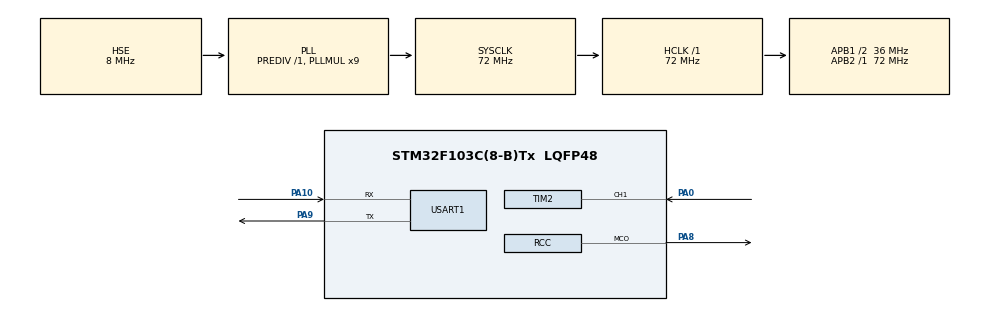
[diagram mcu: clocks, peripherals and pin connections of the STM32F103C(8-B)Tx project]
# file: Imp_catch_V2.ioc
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Mcu.Family=STM32F1
Mcu.Name=STM32F103C(8-B)Tx
Mcu.Package=LQFP48
NVIC.PriorityGroup=NVIC_PRIORITYGROUP_4
NVIC.TIM1_CC_IRQn=true\:0\:0\:false\:false\:true\:true\:true\:true
NVIC.TIM1_UP_IRQn=true\:0\:0\:false\:false\:true\:true\:true\:true
NVIC.TIM2_IRQn=true\:0\:0\:false\:false\:true\:true\:true\:true
PA0-WKUP.Signal=S_TIM2_CH1_ETR
PA10.Mode=Asynchronous
PA10.Signal=USART1_RX
PA13.Mode=Serial_Wire
PA13.Signal=SYS_JTMS-SWDIO
PA14.Mode=Serial_Wire
PA14.Signal=SYS_JTCK-SWCLK
PA8.GPIO_Speed=GPIO_SPEED_FREQ_HIGH
PA8.Mode=Clock-out
PA8.Signal=RCC_MCO
PA9.Mode=Asynchronous
PA9.Signal=USART1_TX
PD0-OSC_IN.Mode=HSE-External-Oscillator
PD0-OSC_IN.Signal=RCC_OSC_IN
PD1-OSC_OUT.Mode=HSE-External-Oscillator
PD1-OSC_OUT.Signal=RCC_OSC_OUT
ProjectManager.HeapSize=0x200
ProjectManager.StackSize=0x400
ProjectManager.TargetToolchain=STM32CubeIDE
RCC.AHBFreq_Value=72000000
RCC.APB1CLKDivider=RCC_HCLK_DIV2
RCC.APB1Freq_Value=36000000
RCC.APB1TimFreq_Value=72000000
RCC.APB2Freq_Value=72000000
RCC.APB2TimFreq_Value=72000000
RCC.HCLKFreq_Value=72000000
RCC.PLLMUL=RCC_PLL_MUL9
RCC.PLLSourceVirtual=RCC_PLLSOURCE_HSE
RCC.RCC_MCOSource=RCC_MCO1SOURCE_HSE
RCC.SYSCLKFreq_VALUE=72000000
RCC.SYSCLKSource=RCC_SYSCLKSOURCE_PLLCLK
RCC.USBFreq_Value=72000000
SH.S_TIM2_CH1_ETR.0=TIM2_CH1,Input_Capture1_from_TI1
TIM1.AutoReloadPreload=TIM_AUTORELOAD_PRELOAD_DISABLE
TIM1.CounterMode=TIM_COUNTERMODE_DOWN
TIM1.Period=9999
TIM1.Prescaler=7199
TIM1.TIM_MasterOutputTrigger=TIM_TRGO_ENABLE
TIM1.TIM_MasterSlaveMode=TIM_MASTERSLAVEMODE_ENABLE
TIM2.AutoReloadPreload=TIM_AUTORELOAD_PRELOAD_ENABLE
TIM2.Channel-Input_Capture1_from_TI1=TIM_CHANNEL_1
TIM2.Channel-Input_Capture2_from_TI1_63=TIM_CHANNEL_2
TIM2.ICPolarity_CH1=TIM_INPUTCHANNELPOLARITY_RISING
TIM2.ICPolarity_CH2=TIM_INPUTCHANNELPOLARITY_FALLING
TIM2.Period=65535
TIM2.Prescaler=0
USART1.VirtualMode=VM_ASYNC
VP_TIM1_VS_ClockSourceINT.Mode=Internal
VP_TIM1_VS_OPM.Mode=OPM_bit
VP_TIM2_VS_ClockSourceINT.Mode=Internal
VP_TIM2_VS_ClockSourceITR.Mode=TriggerSource_ITR0
VP_TIM2_VS_ControllerModeGated.Mode=Gated Mode
VP_TIM2_VS_indirect_ch1.Mode=Input_Capture2_from_TI1_63
board=custom

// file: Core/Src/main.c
/* USER CODE BEGIN Header */
/**
  ******************************************************************************
  * @file           : main.c
  * @brief          : Main program body
  ******************************************************************************
  * @attention
  *
  * Copyright (c) 2022 STMicroelectronics.
  * All rights reserved.
  *
  * This software is licensed under terms that can be found in the LICENSE file
  * in the root directory of this software component.
  * If no LICENSE file comes with this software, it is provided AS-IS.
  *
  ******************************************************************************
  */
/* USER CODE END Header */
#include "main.h"

/* USER CODE BEGIN Includes */
#include <stdio.h>
#include <string.h>
/* USER CODE END Includes */

 TIM_HandleTypeDef htim1;
TIM_HandleTypeDef htim2;

UART_HandleTypeDef huart1;

/* USER CODE BEGIN PV */
long unsigned int period = 0;
long unsigned int pulseWidth = 0;
char str[96] = {0,};
char trans_str[96] = {0,};
uint32_t falling = 0;
uint32_t test = 0;
long unsigned int Ti = 0;
long unsigned int T = 0;
long unsigned int N = 0;
long double F_average = 0;
long unsigned int count_overflow = 0;
//long unsigned int count_overflow = 0;
/* USER CODE END PV */

void SystemClock_Config(void);
static void MX_GPIO_Init(void);
static void MX_USART1_UART_Init(void);
static void MX_TIM2_Init(void);
static void MX_TIM1_Init(void);

/* USER CODE BEGIN 0 */

void HAL_TIM_PeriodElapsedCallback(TIM_HandleTypeDef *htim) // переполнение таймеров
{
        if(htim->Instance == TIM2)
        {
                count_overflow++;
        }

        if(htim == &htim1)
        {
        	    F_average = (72000000.0) / ((long double)Ti / (long double)N) ;

                snprintf(trans_str, 96, "Freq %f Hz\n", (float)F_average);
                HAL_UART_Transmit(&huart1, (uint8_t*)trans_str, strlen(trans_str), 1000);

                Ti = 0;
                N = 0;
        		count_overflow = 0;

                HAL_TIM_Base_Stop_IT(&htim1);
                HAL_TIM_Base_Start_IT(&htim1);
        }
}

void HAL_TIM_IC_CaptureCallback(TIM_HandleTypeDef *htim) // таймер захвата импульсов
{
    if(htim->Instance == TIM2)
    {
            if(htim->Channel == HAL_TIM_ACTIVE_CHANNEL_1) // RISING с LOW на HIGH
            {
            		TIM2->CNT = 0;
            		period = TIM2->CCR1 + (65536 * count_overflow);//период
            		count_overflow = 0;
            		Ti = Ti + period;
                    N++;
            }
    }
}

/* USER CODE END 0 */

int main(void)
{

  /* MCU Configuration--------------------------------------------------------*/

  /* Reset of all peripherals, Initializes the Flash interface and the Systick. */
  HAL_Init();

  /* Configure the system clock */
  SystemClock_Config();

  /* Initialize all configured peripherals */
  MX_GPIO_Init();
  MX_USART1_UART_Init();
  MX_TIM2_Init();
  MX_TIM1_Init();
  /* USER CODE BEGIN 2 */
  HAL_TIM_Base_Start_IT(&htim1);
  HAL_TIM_Base_Start_IT(&htim2);
  HAL_TIM_IC_Start_IT(&htim2, TIM_CHANNEL_1);
  HAL_TIM_IC_Start_IT(&htim2, TIM_CHANNEL_2);
  /* USER CODE END 2 */

  /* Infinite loop */
  /* USER CODE BEGIN WHILE */
  while (1)
  {
	  /*HAL_GPIO_WritePin(GPIOA, GPIO_PIN_8, GPIO_PIN_SET);
	  delay_us(3);
      HAL_GPIO_WritePin(GPIOA, GPIO_PIN_8, GPIO_PIN_RESET);
      HAL_Delay(30);*/
    /* USER CODE END WHILE */

  }
}

void SystemClock_Config(void)
{
  RCC_OscInitTypeDef RCC_OscInitStruct = {0};
  RCC_ClkInitTypeDef RCC_ClkInitStruct = {0};

  /** Initializes the RCC Oscillators according to the specified parameters
  * in the RCC_OscInitTypeDef structure.
  */
  RCC_OscInitStruct.OscillatorType = RCC_OSCILLATORTYPE_HSE;
  RCC_OscInitStruct.HSEState = RCC_HSE_ON;
  RCC_OscInitStruct.HSEPredivValue = RCC_HSE_PREDIV_DIV1;
  RCC_OscInitStruct.HSIState = RCC_HSI_ON;
  RCC_OscInitStruct.PLL.PLLState = RCC_PLL_ON;
  RCC_OscInitStruct.PLL.PLLSource = RCC_PLLSOURCE_HSE;
  RCC_OscInitStruct.PLL.PLLMUL = RCC_PLL_MUL9;
  if (HAL_RCC_OscConfig(&RCC_OscInitStruct) != HAL_OK)
  {
    Error_Handler();
  }

  /** Initializes the CPU, AHB and APB buses clocks
  */
  RCC_ClkInitStruct.ClockType = RCC_CLOCKTYPE_HCLK|RCC_CLOCKTYPE_SYSCLK
                              |RCC_CLOCKTYPE_PCLK1|RCC_CLOCKTYPE_PCLK2;
  RCC_ClkInitStruct.SYSCLKSource = RCC_SYSCLKSOURCE_PLLCLK;
  RCC_ClkInitStruct.AHBCLKDivider = RCC_SYSCLK_DIV1;
  RCC_ClkInitStruct.APB1CLKDivider = RCC_HCLK_DIV2;
  RCC_ClkInitStruct.APB2CLKDivider = RCC_HCLK_DIV1;

  if (HAL_RCC_ClockConfig(&RCC_ClkInitStruct, FLASH_LATENCY_2) != HAL_OK)
  {
    Error_Handler();
  }
  HAL_RCC_MCOConfig(RCC_MCO, RCC_MCO1SOURCE_HSE, RCC_MCODIV_1);
}

static void MX_TIM1_Init(void)
{

  TIM_ClockConfigTypeDef sClockSourceConfig = {0};
  TIM_MasterConfigTypeDef sMasterConfig = {0};

  htim1.Instance = TIM1;
  htim1.Init.Prescaler = 7199;
  htim1.Init.CounterMode = TIM_COUNTERMODE_DOWN;
  htim1.Init.Period = 9999;
  htim1.Init.ClockDivision = TIM_CLOCKDIVISION_DIV1;
  htim1.Init.RepetitionCounter = 0;
  htim1.Init.AutoReloadPreload = TIM_AUTORELOAD_PRELOAD_DISABLE;
  if (HAL_TIM_Base_Init(&htim1) != HAL_OK)
  {
    Error_Handler();
  }
  sClockSourceConfig.ClockSource = TIM_CLOCKSOURCE_INTERNAL;
  if (HAL_TIM_ConfigClockSource(&htim1, &sClockSourceConfig) != HAL_OK)
  {
    Error_Handler();
  }
  if (HAL_TIM_OnePulse_Init(&htim1, TIM_OPMODE_SINGLE) != HAL_OK)
  {
    Error_Handler();
  }
  sMasterConfig.MasterOutputTrigger = TIM_TRGO_ENABLE;
  sMasterConfig.MasterSlaveMode = TIM_MASTERSLAVEMODE_ENABLE;
  if (HAL_TIMEx_MasterConfigSynchronization(&htim1, &sMasterConfig) != HAL_OK)
  {
    Error_Handler();
  }

}

static void MX_TIM2_Init(void)
{

  TIM_ClockConfigTypeDef sClockSourceConfig = {0};
  TIM_SlaveConfigTypeDef sSlaveConfig = {0};
  TIM_MasterConfigTypeDef sMasterConfig = {0};
  TIM_IC_InitTypeDef sConfigIC = {0};

  htim2.Instance = TIM2;
  htim2.Init.Prescaler = 0;
  htim2.Init.CounterMode = TIM_COUNTERMODE_UP;
  htim2.Init.Period = 65535;
  htim2.Init.ClockDivision = TIM_CLOCKDIVISION_DIV1;
  htim2.Init.AutoReloadPreload = TIM_AUTORELOAD_PRELOAD_ENABLE;
  if (HAL_TIM_Base_Init(&htim2) != HAL_OK)
  {
    Error_Handler();
  }
  sClockSourceConfig.ClockSource = TIM_CLOCKSOURCE_INTERNAL;
  if (HAL_TIM_ConfigClockSource(&htim2, &sClockSourceConfig) != HAL_OK)
  {
    Error_Handler();
  }
  if (HAL_TIM_IC_Init(&htim2) != HAL_OK)
  {
    Error_Handler();
  }
  sSlaveConfig.SlaveMode = TIM_SLAVEMODE_GATED;
  sSlaveConfig.InputTrigger = TIM_TS_ITR0;
  if (HAL_TIM_SlaveConfigSynchro(&htim2, &sSlaveConfig) != HAL_OK)
  {
    Error_Handler();
  }
  sMasterConfig.MasterOutputTrigger = TIM_TRGO_RESET;
  sMasterConfig.MasterSlaveMode = TIM_MASTERSLAVEMODE_DISABLE;
  if (HAL_TIMEx_MasterConfigSynchronization(&htim2, &sMasterConfig) != HAL_OK)
  {
    Error_Handler();
  }
  sConfigIC.ICPolarity = TIM_INPUTCHANNELPOLARITY_RISING;
  sConfigIC.ICSelection = TIM_ICSELECTION_DIRECTTI;
  sConfigIC.ICPrescaler = TIM_ICPSC_DIV1;
  sConfigIC.ICFilter = 0;
  if (HAL_TIM_IC_ConfigChannel(&htim2, &sConfigIC, TIM_CHANNEL_1) != HAL_OK)
  {
    Error_Handler();
  }
  sConfigIC.ICPolarity = TIM_INPUTCHANNELPOLARITY_FALLING;
  sConfigIC.ICSelection = TIM_ICSELECTION_INDIRECTTI;
  if (HAL_TIM_IC_ConfigChannel(&htim2, &sConfigIC, TIM_CHANNEL_2) != HAL_OK)
  {
    Error_Handler();
  }

}

static void MX_USART1_UART_Init(void)
{

  huart1.Instance = USART1;
  huart1.Init.BaudRate = 115200;
  huart1.Init.WordLength = UART_WORDLENGTH_8B;
  huart1.Init.StopBits = UART_STOPBITS_1;
  huart1.Init.Parity = UART_PARITY_NONE;
  huart1.Init.Mode = UART_MODE_TX_RX;
  huart1.Init.HwFlowCtl = UART_HWCONTROL_NONE;
  huart1.Init.OverSampling = UART_OVERSAMPLING_16;
  if (HAL_UART_Init(&huart1) != HAL_OK)
  {
    Error_Handler();
  }

}

static void MX_GPIO_Init(void)
{
  GPIO_InitTypeDef GPIO_InitStruct = {0};

  /* GPIO Ports Clock Enable */
  __HAL_RCC_GPIOD_CLK_ENABLE();
  __HAL_RCC_GPIOA_CLK_ENABLE();

  /*Configure GPIO pin : PA8 */
  GPIO_InitStruct.Pin = GPIO_PIN_8;
  GPIO_InitStruct.Mode = GPIO_MODE_AF_PP;
  GPIO_InitStruct.Speed = GPIO_SPEED_FREQ_HIGH;
  HAL_GPIO_Init(GPIOA, &GPIO_InitStruct);

}

void Error_Handler(void)
{
  __disable_irq();
  while (1)
  {
  }
}
